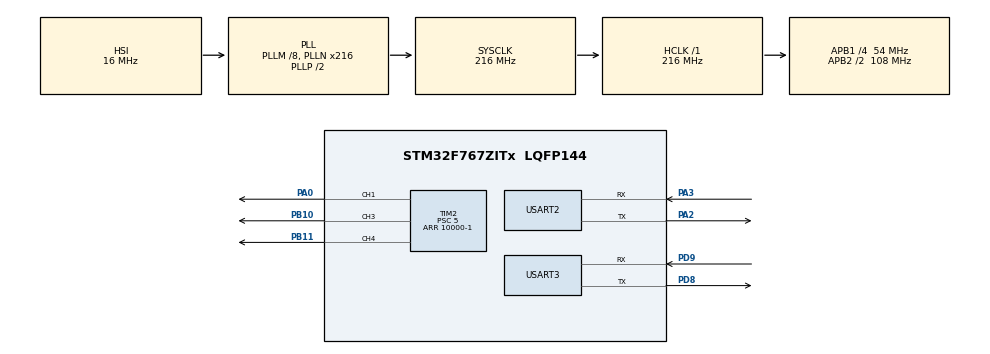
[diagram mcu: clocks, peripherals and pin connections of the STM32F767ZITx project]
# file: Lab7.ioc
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Mcu.Family=STM32F7
Mcu.Name=STM32F767ZITx
Mcu.Package=LQFP144
NVIC.PriorityGroup=NVIC_PRIORITYGROUP_4
NVIC.USART3_IRQn=true\:0\:0\:false\:false\:true\:true\:true\:true
PA0/WKUP.GPIO_Speed=GPIO_SPEED_FREQ_VERY_HIGH
PA0/WKUP.Signal=S_TIM2_CH1_ETR
PA2.Mode=Asynchronous
PA2.Signal=USART2_TX
PA3.Mode=Asynchronous
PA3.Signal=USART2_RX
PB10.GPIO_Speed=GPIO_SPEED_FREQ_VERY_HIGH
PB10.Signal=S_TIM2_CH3
PB11.GPIO_Speed=GPIO_SPEED_FREQ_VERY_HIGH
PB11.Signal=S_TIM2_CH4
PD8.Mode=Asynchronous
PD8.Signal=USART3_TX
PD9.Mode=Asynchronous
PD9.Signal=USART3_RX
ProjectManager.HeapSize=0x200
ProjectManager.StackSize=0x400
ProjectManager.TargetToolchain=STM32CubeIDE
RCC.AHBFreq_Value=216000000
RCC.APB1CLKDivider=RCC_HCLK_DIV4
RCC.APB1Freq_Value=54000000
RCC.APB1TimFreq_Value=108000000
RCC.APB2CLKDivider=RCC_HCLK_DIV2
RCC.APB2Freq_Value=108000000
RCC.APB2TimFreq_Value=216000000
RCC.CortexFreq_Value=216000000
RCC.HCLKFreq_Value=216000000
RCC.HSE_VALUE=25000000
RCC.HSI_VALUE=16000000
RCC.LSE_VALUE=32768
RCC.PLLM=8
RCC.PLLN=216
RCC.SYSCLKFreq_VALUE=216000000
RCC.SYSCLKSource=RCC_SYSCLKSOURCE_PLLCLK
RCC.USBFreq_Value=216000000
RCC.VCOOutputFreq_Value=432000000
SH.S_TIM2_CH1_ETR.0=TIM2_CH1,PWM Generation1 CH1
SH.S_TIM2_CH3.0=TIM2_CH3,PWM Generation3 CH3
SH.S_TIM2_CH4.0=TIM2_CH4,PWM Generation4 CH4
TIM2.Channel-PWM\ Generation1\ CH1=TIM_CHANNEL_1
TIM2.Channel-PWM\ Generation3\ CH3=TIM_CHANNEL_3
TIM2.Channel-PWM\ Generation4\ CH4=TIM_CHANNEL_4
TIM2.Period=10000-1
TIM2.Prescaler=5
TIM2.Pulse-PWM\ Generation1\ CH1=10000/4-1
TIM2.Pulse-PWM\ Generation3\ CH3=10000/4-1
TIM2.Pulse-PWM\ Generation4\ CH4=10000/4-1
USART2.VirtualMode-Asynchronous=VM_ASYNC
USART3.VirtualMode-Asynchronous=VM_ASYNC
VP_TIM2_VS_ClockSourceINT.Mode=Internal
board=custom

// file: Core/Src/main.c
/* USER CODE BEGIN Header */
/**
  ******************************************************************************
  * @file           : main.c
  * @brief          : Main program body
  ******************************************************************************
  * @attention
  *
  * Copyright (c) 2023 STMicroelectronics.
  * All rights reserved.
  *
  * This software is licensed under terms that can be found in the LICENSE file
  * in the root directory of this software component.
  * If no LICENSE file comes with this software, it is provided AS-IS.
  *
  ******************************************************************************
  */
/* USER CODE END Header */
#include "main.h"
#include "tim.h"
#include "usart.h"
#include "gpio.h"

/* USER CODE BEGIN PV */
float rdutyCycle = 0.00;
float gdutyCycle = 0.00;
float bdutyCycle = 0.00;
uint8_t rpwm;
uint8_t bpwm;
uint8_t gpwm;

char ch1;
/* USER CODE END PV */

void SystemClock_Config(void);

int main(void)
{

  /* MCU Configuration--------------------------------------------------------*/

  /* Reset of all peripherals, Initializes the Flash interface and the Systick. */
  HAL_Init();

  /* Configure the system clock */
  SystemClock_Config();

  /* Initialize all configured peripherals */
  MX_GPIO_Init();
  MX_TIM2_Init();
  MX_USART2_UART_Init();
  MX_USART3_UART_Init();
  /* USER CODE BEGIN 2 */
  HAL_TIM_PWM_Start(&htim2, TIM_CHANNEL_1);
  HAL_TIM_PWM_Start(&htim2, TIM_CHANNEL_3);
  HAL_TIM_PWM_Start(&htim2, TIM_CHANNEL_4);
  HAL_UART_Receive_IT(&huart3,(uint8_t*) &ch1,1);
  /* USER CODE END 2 */

  /* Infinite loop */
  while (1)
  {

    /* USER CODE BEGIN 3 */
	  if(rdutyCycle<=1.00){
		  htim2.Instance -> CCR3 = (10000-1) * rdutyCycle;
	  }else{
		  rdutyCycle=0.00;
	  }
	  if(gdutyCycle<=1.00){
	  		  htim2.Instance -> CCR1 = (10000-1) * gdutyCycle;
	  	  }else{
	  		  gdutyCycle=0.00;
	  	  }
	  if(bdutyCycle<=1.00){
	  	  		  htim2.Instance -> CCR4 = (10000-1) * bdutyCycle;
	  	  	  }else{
	  	  		  bdutyCycle=0.00;
	  	  	  }
	  rpwm = (GPIOB->IDR & GPIO_PIN_10) >>10;
	  bpwm = (GPIOB->IDR & GPIO_PIN_11) >>11;
	  gpwm = (GPIOA->IDR & GPIO_PIN_0) >>1;

  }
  /* USER CODE END 3 */
}

void SystemClock_Config(void)
{
  RCC_OscInitTypeDef RCC_OscInitStruct = {0};
  RCC_ClkInitTypeDef RCC_ClkInitStruct = {0};

  /** Configure the main internal regulator output voltage
  */
  __HAL_RCC_PWR_CLK_ENABLE();
  __HAL_PWR_VOLTAGESCALING_CONFIG(PWR_REGULATOR_VOLTAGE_SCALE1);

  /** Initializes the RCC Oscillators according to the specified parameters
  * in the RCC_OscInitTypeDef structure.
  */
  RCC_OscInitStruct.OscillatorType = RCC_OSCILLATORTYPE_HSI;
  RCC_OscInitStruct.HSIState = RCC_HSI_ON;
  RCC_OscInitStruct.HSICalibrationValue = RCC_HSICALIBRATION_DEFAULT;
  RCC_OscInitStruct.PLL.PLLState = RCC_PLL_ON;
  RCC_OscInitStruct.PLL.PLLSource = RCC_PLLSOURCE_HSI;
  RCC_OscInitStruct.PLL.PLLM = 8;
  RCC_OscInitStruct.PLL.PLLN = 216;
  RCC_OscInitStruct.PLL.PLLP = RCC_PLLP_DIV2;
  RCC_OscInitStruct.PLL.PLLQ = 2;
  RCC_OscInitStruct.PLL.PLLR = 2;
  if (HAL_RCC_OscConfig(&RCC_OscInitStruct) != HAL_OK)
  {
    Error_Handler();
  }

  /** Activate the Over-Drive mode
  */
  if (HAL_PWREx_EnableOverDrive() != HAL_OK)
  {
    Error_Handler();
  }

  /** Initializes the CPU, AHB and APB buses clocks
  */
  RCC_ClkInitStruct.ClockType = RCC_CLOCKTYPE_HCLK|RCC_CLOCKTYPE_SYSCLK
                              |RCC_CLOCKTYPE_PCLK1|RCC_CLOCKTYPE_PCLK2;
  RCC_ClkInitStruct.SYSCLKSource = RCC_SYSCLKSOURCE_PLLCLK;
  RCC_ClkInitStruct.AHBCLKDivider = RCC_SYSCLK_DIV1;
  RCC_ClkInitStruct.APB1CLKDivider = RCC_HCLK_DIV4;
  RCC_ClkInitStruct.APB2CLKDivider = RCC_HCLK_DIV2;

  if (HAL_RCC_ClockConfig(&RCC_ClkInitStruct, FLASH_LATENCY_7) != HAL_OK)
  {
    Error_Handler();
  }
}

/* USER CODE BEGIN 4 */
void HAL_UART_RxCpltCallback(UART_HandleTypeDef *huart)
{
  if(huart==&huart3){
	  HAL_UART_Receive_IT(&huart3,(uint8_t*) &ch1,1);
	  if(ch1 == 'r'){
		  rdutyCycle+=0.20;
	  }
	  if(ch1 == 'g'){
	  		  gdutyCycle+=0.20;
	  	  }
	  if(ch1 == 'b'){
	  	  		  bdutyCycle+=0.20;
	  	  	  }

  }
}
/* USER CODE END 4 */

void Error_Handler(void)
{
  __disable_irq();
  while (1)
  {
  }
}
